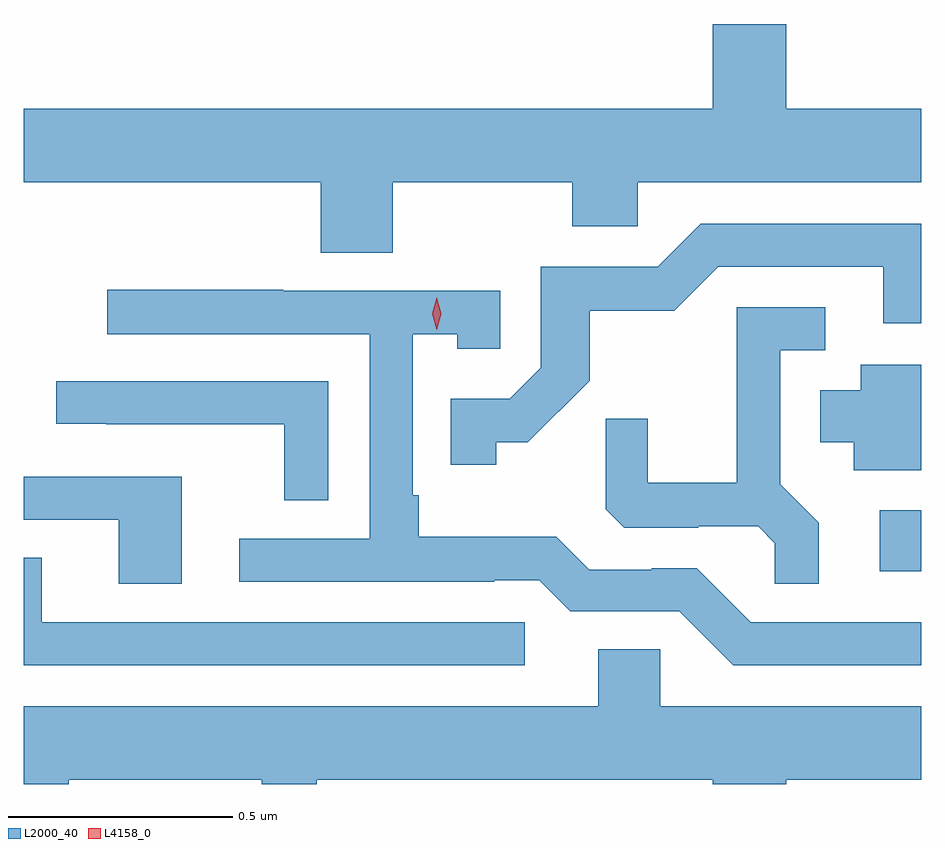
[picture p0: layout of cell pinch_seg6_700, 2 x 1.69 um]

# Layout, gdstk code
import gdstk
lib = gdstk.Library(unit=1e-6, precision=1e-09)
def R(c, l, rs):  # rectangles x0, y0, x1, y1
    for r in rs: c.add(gdstk.rectangle(r[:2], r[2:], *l))
def P(c, l, *ps):  # polygons
    for p in ps: c.add(gdstk.Polygon(p, *l))
L2000_40 = (2000, 40)
L4158_0 = (4158, 0)

pinch_seg6_700 = lib.new_cell('pinch_seg6_700')
R(pinch_seg6_700, L2000_40, [(441.105,941.141,441.197,941.277)])
P(pinch_seg6_700, L2000_40, [(441.197,942.172),(440.896,942.172),(440.896,942.361),(440.732,942.361),(440.732,942.172),(439.197,942.172),(439.197,942.008),(439.859,942.008),(439.859,941.851),(440.019,941.851),(440.019,942.008),(440.419,942.008),(440.419,941.91),(440.565,941.91),(440.565,942.008),(441.197,942.008)],
  [(440.25,941.429),(440.32,941.429),(440.458,941.566),(440.458,941.722),(440.647,941.722),(440.745,941.82),(441.113,941.82),(441.113,941.694),(441.197,941.694),(441.197,941.916),(440.706,941.916),(440.61,941.82),(440.349,941.82),(440.349,941.595),(440.28,941.526),(440.149,941.526),(440.149,941.379),(440.25,941.379)],
  [(441.197,941.028),(440.817,941.028),(440.697,941.148),(440.596,941.148),(440.596,941.145),(440.457,941.145),(440.384,941.218),(440.077,941.218),(440.077,941.311),(440.064,941.311),(440.064,941.669),(440.163,941.669),(440.163,941.637),(440.259,941.637),(440.259,941.766),(439.775,941.766),(439.775,941.769),(439.383,941.769),(439.383,941.67),(439.968,941.67),(439.968,941.214),(439.677,941.214),(439.677,941.118),(440.246,941.118),(440.246,941.121),(440.346,941.121),(440.415,941.052),(440.658,941.052),(440.778,940.932),(441.197,940.932)],
  [(440.969,941.249),(440.883,941.335),(440.883,941.634),(440.983,941.634),(440.983,941.73),(440.786,941.73),(440.786,941.338),(440.588,941.338),(440.588,941.481),(440.494,941.481),(440.494,941.279),(440.535,941.238),(440.7,941.238),(440.7,941.241),(440.834,941.241),(440.871,941.204),(440.871,941.113),(440.969,941.113)],
  [(441.197,941.602),(441.062,941.602),(441.062,941.545),(440.972,941.545),(440.972,941.429),(441.047,941.429),(441.047,941.366),(441.197,941.366)],
  [(439.875,941.565),(439.269,941.565),(439.269,941.47),(439.381,941.47),(439.381,941.469),(439.777,941.469),(439.777,941.299),(439.875,941.299)],
  [(439.549,941.352),(439.197,941.352),(439.197,941.256),(439.409,941.256),(439.409,941.113),(439.549,941.113)],
  [(440.314,941.028),(439.237,941.028),(439.237,941.171),(439.197,941.171),(439.197,940.932),(440.314,940.932)],
  [(439.297,940.676),(439.727,940.676),(439.727,940.667),(439.85,940.667),(439.85,940.676),(440.732,940.676),(440.732,940.667),(440.896,940.667),(440.896,940.676),(441.197,940.676),(441.197,940.84),(440.616,940.84),(440.616,940.967),(440.477,940.967),(440.477,940.84),(439.197,940.84),(439.197,940.667),(439.297,940.667)])
P(pinch_seg6_700, L4158_0, [(440.117,941.679),(440.117,941.679),(440.107,941.715),(440.117,941.751),(440.117,941.751),(440.117,941.751),(440.127,941.715),(440.117,941.679)])

lib.write_gds('pinch_seg6_700.gds')
